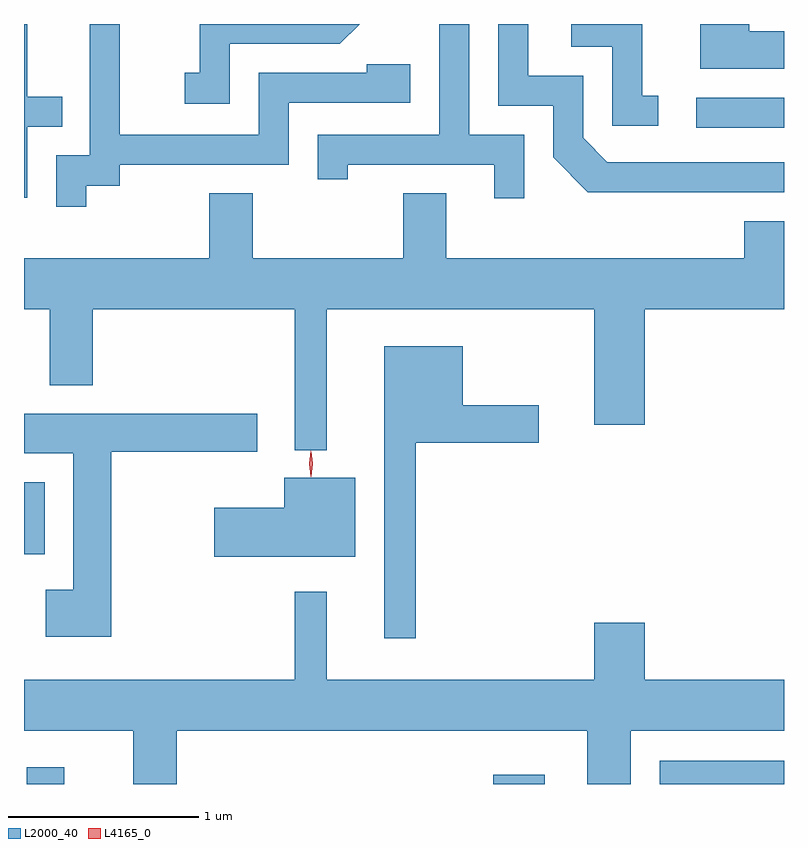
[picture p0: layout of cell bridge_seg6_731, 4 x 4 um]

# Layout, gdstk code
import gdstk
lib = gdstk.Library(unit=1e-6, precision=1e-09)
def R(c, l, rs):  # rectangles x0, y0, x1, y1
    for r in rs: c.add(gdstk.rectangle(r[:2], r[2:], *l))
def P(c, l, *ps):  # polygons
    for p in ps: c.add(gdstk.Polygon(p, *l))
L2000_40 = (2000, 40)
L4165_0 = (4165, 0)

bridge_seg6_731 = lib.new_cell('bridge_seg6_731')
R(bridge_seg6_731, L2000_40, [(411.891,1583.056,412.089,1583.144), (414.346,1583.056,414.618,1583.104), (415.221,1583.056,415.876,1583.179), (411.876,1584.266,411.984,1584.644), (415.413,1586.511,415.876,1586.669)])
P(bridge_seg6_731, L2000_40, [(415.876,1587.019),(415.694,1587.019),(415.694,1587.056),(415.436,1587.056),(415.436,1586.821),(415.876,1586.821)],
  [(414.509,1586.474),(414.219,1586.474),(414.219,1587.056),(414.061,1587.056),(414.061,1586.474),(413.421,1586.474),(413.421,1586.238),(413.579,1586.238),(413.579,1586.316),(414.351,1586.316),(414.351,1586.138),(414.509,1586.138)],
  [(412.959,1586.951),(413.537,1586.951),(413.642,1587.056),(412.801,1587.056),(412.801,1586.799),(412.723,1586.799),(412.723,1586.636),(412.959,1586.636)],
  [(412.204,1586.206),(412.379,1586.206),(412.379,1586.316),(413.269,1586.316),(413.269,1586.641),(413.909,1586.641),(413.909,1586.844),(413.681,1586.844),(413.681,1586.799),(413.111,1586.799),(413.111,1586.474),(412.379,1586.474),(412.379,1587.056),(412.221,1587.056),(412.221,1586.364),(412.046,1586.364),(412.046,1586.093),(412.204,1586.093)],
  [(415.876,1586.329),(414.947,1586.329),(414.819,1586.457),(414.819,1586.784),(414.529,1586.784),(414.529,1587.056),(414.371,1587.056),(414.371,1586.626),(414.661,1586.626),(414.661,1586.354),(414.844,1586.171),(415.876,1586.171)],
  [(411.894,1586.516),(412.078,1586.516),(412.078,1586.674),(411.894,1586.674),(411.894,1587.056),(411.876,1587.056),(411.876,1586.141),(411.894,1586.141)],
  [(415.213,1586.679),(415.129,1586.679),(415.129,1587.056),(414.756,1587.056),(414.756,1586.936),(414.971,1586.936),(414.971,1586.521),(415.213,1586.521)],
  [(413.469,1585.556),(414.876,1585.556),(414.876,1584.946),(415.144,1584.946),(415.144,1585.556),(415.876,1585.556),(415.876,1586.019),(415.666,1586.019),(415.666,1585.824),(414.099,1585.824),(414.099,1586.164),(413.871,1586.164),(413.871,1585.824),(413.079,1585.824),(413.079,1586.164),(412.851,1586.164),(412.851,1585.824),(411.876,1585.824),(411.876,1585.556),(412.011,1585.556),(412.011,1585.156),(412.239,1585.156),(412.239,1585.556),(413.301,1585.556),(413.301,1584.813),(413.469,1584.813)],
  [(413.939,1584.851),(414.584,1584.851),(414.584,1585.049),(414.184,1585.049),(414.184,1585.359),(413.771,1585.359),(413.771,1583.823),(413.939,1583.823)],
  [(412.334,1584.806),(413.104,1584.806),(413.104,1585.004),(411.876,1585.004),(411.876,1584.796),(412.136,1584.796),(412.136,1584.079),(411.991,1584.079),(411.991,1583.831),(412.334,1583.831)],
  [(413.619,1584.669),(413.246,1584.669),(413.246,1584.509),(412.876,1584.509),(412.876,1584.251),(413.619,1584.251)],
  [(412.679,1583.336),(414.841,1583.336),(414.841,1583.056),(415.069,1583.056),(415.069,1583.336),(415.876,1583.336),(415.876,1583.604),(415.144,1583.604),(415.144,1583.904),(414.876,1583.904),(414.876,1583.604),(413.469,1583.604),(413.469,1584.068),(413.301,1584.068),(413.301,1583.604),(411.876,1583.604),(411.876,1583.336),(412.451,1583.336),(412.451,1583.056),(412.679,1583.056)])
P(bridge_seg6_731, L4165_0, [(413.386,1584.674),(413.386,1584.674),(413.376,1584.742),(413.384,1584.81),(413.385,1584.81),(413.386,1584.81),(413.396,1584.742),(413.387,1584.674)],
  [(413.387,1584.68),(413.387,1584.68),(413.377,1584.743),(413.386,1584.806),(413.386,1584.807),(413.387,1584.806),(413.397,1584.743),(413.388,1584.68)])

lib.write_gds('bridge_seg6_731.gds')
